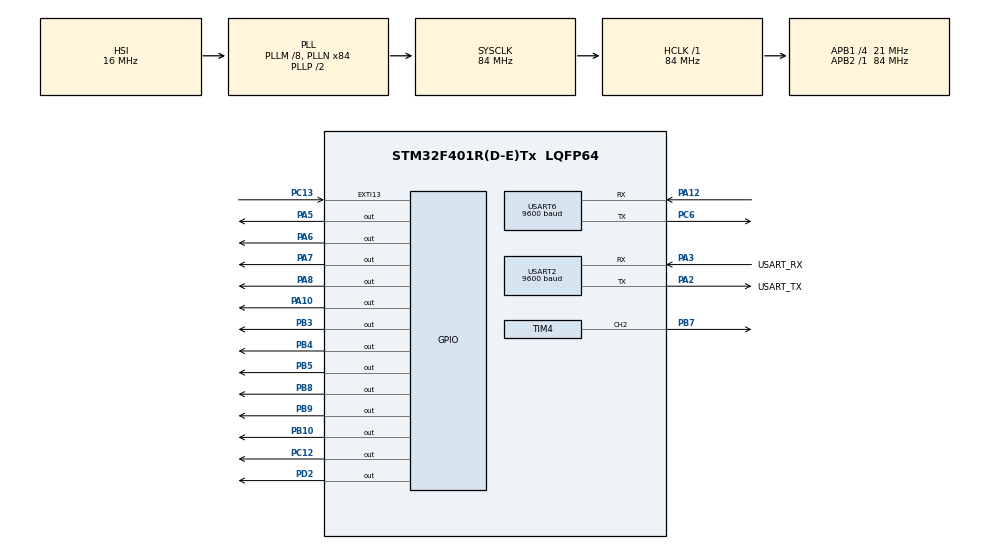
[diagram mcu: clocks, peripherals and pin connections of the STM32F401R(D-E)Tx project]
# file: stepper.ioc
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Mcu.Family=STM32F4
Mcu.Name=STM32F401R(D-E)Tx
Mcu.Package=LQFP64
NVIC.EXTI15_10_IRQn=true\:0\:0\:false\:false\:true\:true\:true\:true
NVIC.PriorityGroup=NVIC_PRIORITYGROUP_0
NVIC.TIM3_IRQn=true\:0\:0\:false\:false\:true\:true\:true\:true
NVIC.USART2_IRQn=true\:0\:0\:false\:false\:true\:true\:true\:true
NVIC.USART6_IRQn=true\:0\:0\:false\:false\:true\:true\:true\:true
PA10.Signal=GPIO_Output
PA12.Mode=Asynchronous
PA12.Signal=USART6_RX
PA13.GPIO_Label=TMS
PA13.Signal=SYS_JTMS-SWDIO
PA14.GPIO_Label=TCK
PA14.Signal=SYS_JTCK-SWCLK
PA2.GPIO_Label=USART_TX
PA2.GPIO_Mode=GPIO_MODE_AF_PP
PA2.GPIO_PuPd=GPIO_NOPULL
PA2.GPIO_Speed=GPIO_SPEED_FREQ_LOW
PA2.Mode=Asynchronous
PA2.Signal=USART2_TX
PA3.GPIO_Label=USART_RX
PA3.GPIO_Mode=GPIO_MODE_AF_PP
PA3.GPIO_PuPd=GPIO_NOPULL
PA3.GPIO_Speed=GPIO_SPEED_FREQ_LOW
PA3.Mode=Asynchronous
PA3.Signal=USART2_RX
PA5.GPIO_PuPd=GPIO_NOPULL
PA5.GPIO_Speed=GPIO_SPEED_FREQ_LOW
PA5.Signal=GPIO_Output
PA6.Signal=GPIO_Output
PA7.Signal=GPIO_Output
PA8.Signal=GPIO_Output
PB10.Signal=GPIO_Output
PB3.Signal=GPIO_Output
PB4.Signal=GPIO_Output
PB5.Signal=GPIO_Output
PB7.Signal=S_TIM4_CH2
PB8.Signal=GPIO_Output
PB9.Signal=GPIO_Output
PC12.Signal=GPIO_Output
PC13-ANTI_TAMP.GPIO_ModeDefaultEXTI=GPIO_MODE_IT_RISING
PC13-ANTI_TAMP.Signal=GPXTI13
PC14-OSC32_IN.Signal=RCC_OSC32_IN
PC15-OSC32_OUT.Signal=RCC_OSC32_OUT
PC6.Mode=Asynchronous
PC6.Signal=USART6_TX
PD2.Signal=GPIO_Output
PH0\ -\ OSC_IN.Signal=RCC_OSC_IN
PH1\ -\ OSC_OUT.Signal=RCC_OSC_OUT
ProjectManager.HeapSize=0x200
ProjectManager.StackSize=0x400
ProjectManager.TargetToolchain=STM32CubeIDE
RCC.48MHZClocksFreq_Value=24000000
RCC.AHBFreq_Value=84000000
RCC.APB1CLKDivider=RCC_HCLK_DIV4
RCC.APB1Freq_Value=21000000
RCC.APB1TimFreq_Value=42000000
RCC.APB2Freq_Value=84000000
RCC.APB2TimFreq_Value=84000000
RCC.CortexFreq_Value=84000000
RCC.HCLKFreq_Value=84000000
RCC.HSE_VALUE=8000000
RCC.HSI_VALUE=16000000
RCC.LSE_VALUE=32768
RCC.PLLM=8
RCC.PLLN=84
RCC.PLLQ=7
RCC.SYSCLKFreq_VALUE=84000000
RCC.SYSCLKSource=RCC_SYSCLKSOURCE_PLLCLK
RCC.VCOOutputFreq_Value=168000000
SH.S_TIM4_CH2.0=TIM4_CH2,PWM Generation2 CH2
TIM3.Period=1999
TIM3.Prescaler=39
TIM4.Channel-PWM\ Generation2\ CH2=TIM_CHANNEL_2
TIM4.Period=1999
TIM4.Prescaler=419
USART2.BaudRate=9600
USART2.VirtualMode=VM_ASYNC
USART6.BaudRate=9600
USART6.VirtualMode=VM_ASYNC
VP_TIM3_VS_ClockSourceINT.Mode=Internal
VP_TIM4_VS_ClockSourceINT.Mode=Internal
board=NUCLEO-F401RE

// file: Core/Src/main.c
/* USER CODE BEGIN Header */
/**
  ******************************************************************************
  * @file           : main.c
  * @brief          : Main program body
  ******************************************************************************
  * @attention
  *
  * Copyright (c) 2024 STMicroelectronics.
  * All rights reserved.
  *
  * This software is licensed under terms that can be found in the LICENSE file
  * in the root directory of this software component.
  * If no LICENSE file comes with this software, it is provided AS-IS.
  *
  ******************************************************************************
  */
/* USER CODE END Header */
#include "main.h"

/* USER CODE BEGIN Includes */
#include "stdbool.h"
#include "stdio.h"
/* USER CODE END Includes */

/* USER CODE BEGIN PTD */
typedef void (*action_func)(void);
/* USER CODE END PTD */

/* USER CODE BEGIN PD */
#define TIM4_ADDR 0x40000800
#define TIM3_ADDR 0x40000400
#define TIM_CCR2_OFFSET 0x38
#define CCR_MASK 0xFFFF

/* USER CODE END PD */

/* USER CODE BEGIN PM */
#define MIN_PAN 60
#define IDLE_PAN 155
#define MAX_PAN 240
#define STEP_PAN 5
/* USER CODE END PM */

TIM_HandleTypeDef htim3;
TIM_HandleTypeDef htim4;

UART_HandleTypeDef huart2;
UART_HandleTypeDef huart6;

/* USER CODE BEGIN PV */
static uint8_t flag = 0;
volatile bool shouldSwitch = false;
volatile uint32_t*  tim4_ccr2 = (uint32_t*)(TIM4_ADDR + TIM_CCR2_OFFSET);
action_func currentAct;

// transmit and receive buffer for Pixy2 cam
uint8_t tx_buffer[32] = {
		0xae,
		0xc1,
		0x0e,
		0x00
};

uint8_t rx_buffer[32];

// receive buffer for PS2 control
uint8_t answer[2] = 0;

// status flag for stepper driving
static uint8_t stepState = 0;

static uint8_t tiltState = 0;

static uint8_t panState = 0;

static uint8_t shootState = 0;
/* USER CODE END PV */

void SystemClock_Config(void);
static void MX_GPIO_Init(void);
static void MX_TIM4_Init(void);
static void MX_USART2_UART_Init(void);
static void MX_USART6_UART_Init(void);
static void MX_TIM3_Init(void);

/* USER CODE BEGIN 0 */

GPIO_TypeDef* H_Bridge_A1_GPIO = GPIOC; //PC12
uint16_t H_Bridge_A1_PIN = GPIO_PIN_12;

GPIO_TypeDef* H_Bridge_A2_GPIO = GPIOD; //PD2
uint16_t H_Bridge_A2_PIN = GPIO_PIN_2;

GPIO_TypeDef* A4988_POWER_GPIO = GPIOB; //PB8 D15
uint16_t A4988_POWER_PIN = GPIO_PIN_8;

GPIO_TypeDef* ENABLE_GPIO = GPIOB;// PB9 D14
uint16_t ENABLE_PIN = GPIO_PIN_9;

GPIO_TypeDef* DIR_FRONT_LEFT_GPIO = GPIOA; // PA5 D13
uint16_t DIR_FRONT_LEFT_PIN = GPIO_PIN_5;
GPIO_TypeDef* STEP_FRONT_LEFT_GPIO = GPIOA; // PA6 D12
uint16_t STEP_FRONT_LEFT_PIN = GPIO_PIN_6;

GPIO_TypeDef* DIR_BACK_LEFT_GPIO = GPIOA; // PA7 D11
uint16_t DIR_BACK_LEFT_PIN = GPIO_PIN_7;
GPIO_TypeDef* STEP_BACK_LEFT_GPIO = GPIOA; // PA8 D7
uint16_t STEP_BACK_LEFT_PIN = GPIO_PIN_8;

GPIO_TypeDef* DIR_FRONT_RIGHT_GPIO = GPIOB; // PB10 D6
uint16_t DIR_FRONT_RIGHT_PIN = GPIO_PIN_10;
GPIO_TypeDef* STEP_FRONT_RIGHT_GPIO = GPIOB; // PB4 D5
uint16_t STEP_FRONT_RIGHT_PIN = GPIO_PIN_4;

GPIO_TypeDef* DIR_BACK_RIGHT_GPIO = GPIOB;// PB5 D4
uint16_t DIR_BACK_RIGHT_PIN = GPIO_PIN_5;
GPIO_TypeDef* STEP_BACK_RIGHT_GPIO = GPIOB; // PB3 D3
uint16_t STEP_BACK_RIGHT_PIN = GPIO_PIN_3;

// Flywheel control sets
void run_wheelA(){
	HAL_GPIO_WritePin(H_Bridge_A1_GPIO, H_Bridge_A1_PIN, 1);
	HAL_GPIO_WritePin(H_Bridge_A2_GPIO, H_Bridge_A2_PIN, 0);
}

// Stepper control sets
void set_forward_dir()
{
	HAL_GPIO_WritePin(DIR_FRONT_LEFT_GPIO, DIR_FRONT_LEFT_PIN, 1);
	HAL_GPIO_WritePin(DIR_BACK_LEFT_GPIO, DIR_BACK_LEFT_PIN, 1);
	HAL_GPIO_WritePin(DIR_FRONT_RIGHT_GPIO, DIR_FRONT_RIGHT_PIN, 1);
	HAL_GPIO_WritePin(DIR_BACK_RIGHT_GPIO, DIR_BACK_RIGHT_PIN, 1);
}
void set_backward_dir()
{
	HAL_GPIO_WritePin(DIR_FRONT_LEFT_GPIO, DIR_FRONT_LEFT_PIN, 0);
	HAL_GPIO_WritePin(DIR_BACK_LEFT_GPIO, DIR_BACK_LEFT_PIN, 0);
	HAL_GPIO_WritePin(DIR_FRONT_RIGHT_GPIO, DIR_FRONT_RIGHT_PIN, 0);
	HAL_GPIO_WritePin(DIR_BACK_RIGHT_GPIO, DIR_BACK_RIGHT_PIN, 0);
}
void set_left_dir()
{
	HAL_GPIO_WritePin(DIR_FRONT_LEFT_GPIO, DIR_FRONT_LEFT_PIN, 0);
	HAL_GPIO_WritePin(DIR_BACK_LEFT_GPIO, DIR_BACK_LEFT_PIN, 1);
	HAL_GPIO_WritePin(DIR_FRONT_RIGHT_GPIO, DIR_FRONT_RIGHT_PIN, 1);
	HAL_GPIO_WritePin(DIR_BACK_RIGHT_GPIO, DIR_BACK_RIGHT_PIN, 0);
}
void set_right_dir()
{
	HAL_GPIO_WritePin(DIR_FRONT_LEFT_GPIO, DIR_FRONT_LEFT_PIN, 1);
	HAL_GPIO_WritePin(DIR_BACK_LEFT_GPIO, DIR_BACK_LEFT_PIN, 0);
	HAL_GPIO_WritePin(DIR_FRONT_RIGHT_GPIO, DIR_FRONT_RIGHT_PIN, 0);
	HAL_GPIO_WritePin(DIR_BACK_RIGHT_GPIO, DIR_BACK_RIGHT_PIN, 1);
}
void set_ccw_dir()
{
	HAL_GPIO_WritePin(DIR_FRONT_LEFT_GPIO, DIR_FRONT_LEFT_PIN, 0);
		HAL_GPIO_WritePin(DIR_BACK_LEFT_GPIO, DIR_BACK_LEFT_PIN, 0);
		HAL_GPIO_WritePin(DIR_FRONT_RIGHT_GPIO, DIR_FRONT_RIGHT_PIN, 1);
		HAL_GPIO_WritePin(DIR_BACK_RIGHT_GPIO, DIR_BACK_RIGHT_PIN, 1);
}
void set_cw_dir()
{
	HAL_GPIO_WritePin(DIR_FRONT_LEFT_GPIO, DIR_FRONT_LEFT_PIN, 1);
		HAL_GPIO_WritePin(DIR_BACK_LEFT_GPIO, DIR_BACK_LEFT_PIN, 1);
		HAL_GPIO_WritePin(DIR_FRONT_RIGHT_GPIO, DIR_FRONT_RIGHT_PIN, 0);
		HAL_GPIO_WritePin(DIR_BACK_RIGHT_GPIO, DIR_BACK_RIGHT_PIN, 0);
}
void move(int steps, void(*func)() ) {
	HAL_GPIO_WritePin(ENABLE_GPIO, ENABLE_PIN, 0);
	func();
	for(int i = 0;i < steps;i++)
	{
        HAL_GPIO_WritePin(STEP_FRONT_LEFT_GPIO, STEP_FRONT_LEFT_PIN, 1);
        HAL_GPIO_WritePin(STEP_BACK_LEFT_GPIO, STEP_BACK_LEFT_PIN, 1);
        HAL_GPIO_WritePin(STEP_FRONT_RIGHT_GPIO, STEP_FRONT_RIGHT_PIN, 1);
        HAL_GPIO_WritePin(STEP_BACK_RIGHT_GPIO, STEP_BACK_RIGHT_PIN, 1);

        HAL_Delay(1); // Adjust delay for desired speed
        HAL_GPIO_WritePin(STEP_FRONT_LEFT_GPIO, STEP_FRONT_LEFT_PIN, 0);
		HAL_GPIO_WritePin(STEP_BACK_LEFT_GPIO, STEP_BACK_LEFT_PIN, 0);
		HAL_GPIO_WritePin(STEP_FRONT_RIGHT_GPIO, STEP_FRONT_RIGHT_PIN, 0);
		HAL_GPIO_WritePin(STEP_BACK_RIGHT_GPIO, STEP_BACK_RIGHT_PIN, 0);
        HAL_Delay(1); // Adjust delay for desired speed
	}
	HAL_GPIO_WritePin(ENABLE_GPIO, ENABLE_PIN, 1);
}
void move_forward(steps)
{
	move(steps, set_forward_dir);
}
void move_backward(steps)
{
	move(steps, set_backward_dir);
}
void move_left(steps)
{
	move(steps, set_left_dir);
}
void move_right(steps)
{
	move(steps, set_right_dir);
}
void move_ccw(steps)
{
	move(steps, set_ccw_dir);
}
void move_cw(steps)
{
	move(steps, set_cw_dir);
}

void move_car(void){

	while(!shouldSwitch){

	}
	printf("Finish moving\n");
	shouldSwitch = false;
}

void move_pan(void){

//	*tim4_ccr2 = MIN_PAN;
//	while(!shouldSwitch){
//		if(*tim4_ccr2 <= MAX_PAN){
//			HAL_Delay(1);
//			*tim4_ccr2 = *tim4_ccr2 +  STEP_PAN;
//		}
//
//
//	}

	printf("Tilting finished\n");
	shouldSwitch = false;
}

void HAL_TIM_PeriodElapsedCallback(TIM_HandleTypeDef *htim) {
    if (htim->Instance == TIM3) {
        // move the wheels

     	HAL_GPIO_WritePin(ENABLE_GPIO, ENABLE_PIN, 0);
        HAL_GPIO_WritePin(STEP_FRONT_LEFT_GPIO, STEP_FRONT_LEFT_PIN, stepState ? GPIO_PIN_SET : GPIO_PIN_RESET);
        HAL_GPIO_WritePin(STEP_BACK_LEFT_GPIO, STEP_BACK_LEFT_PIN, stepState ? GPIO_PIN_SET : GPIO_PIN_RESET);
        HAL_GPIO_WritePin(STEP_FRONT_RIGHT_GPIO, STEP_FRONT_RIGHT_PIN, stepState ? GPIO_PIN_SET : GPIO_PIN_RESET);
        HAL_GPIO_WritePin(STEP_BACK_RIGHT_GPIO, STEP_BACK_RIGHT_PIN, stepState ? GPIO_PIN_SET : GPIO_PIN_RESET);
        stepState = !stepState;
    }
}

// pan&tilt coordinate with wheels callback function
void HAL_GPIO_EXTI_Callback(uint16_t pin){
	flag = !flag;
	shouldSwitch = true;

	if(!flag)
		currentAct = move_car;
	else
		currentAct = move_pan;

}

/* USER CODE END 0 */

int main(void)
{
  /* USER CODE BEGIN 1 */
	currentAct = move_car;

  /* USER CODE END 1 */

  /* MCU Configuration--------------------------------------------------------*/

  /* Reset of all peripherals, Initializes the Flash interface and the Systick. */
  HAL_Init();

  /* Configure the system clock */
  SystemClock_Config();

  /* Initialize all configured peripherals */
  MX_GPIO_Init();
  MX_TIM4_Init();
  MX_USART2_UART_Init();
  MX_USART6_UART_Init();
  MX_TIM3_Init();
  /* USER CODE BEGIN 2 */
  //  HAL_NVIC_SetPriority(USART2_IRQn, 0, 0);
  //  HAL_NVIC_EnableIRQ(USART2_IRQn);
  HAL_UART_Receive_IT(&huart6, &answer, 1);
  // start PWM function for timer4
  HAL_TIM_PWM_Start(&htim4, TIM_CHANNEL_2);

  /* USER CODE END 2 */

  /* Infinite loop */
  /* USER CODE BEGIN WHILE */

  while(1){

//	  if(flagg == 1){
//		  *tim4_ccr2 = *tim4_ccr2 - 5;
//	  }
//	  else if(flagg == 0){
//		  *tim4_ccr2 = *tim4_ccr2 + 5;
//	  }
//
//	  if( *tim4_ccr2>=240){
//		  flagg=1;
//	  }
//	  else if( *tim4_ccr2 <= 60){
//		  flagg = 0;
//	  }
//	  HAL_Delay(10);

//	  if(stepState==1)
//		  move_forward(1);
//	  else if (stepState==2)
//		  move_backward(1);
//	  else if (stepState==3)
//		  move_ccw(1);
//	  else if (stepState==4)
//		  move_cw(1);

	  if(tiltState == 1){
//			if(*tim4_ccr2 <= MAX_PAN){
//				HAL_Delay(1);
//				*tim4_ccr2 = *tim4_ccr2 + STEP_PAN;
//			}
		  *tim4_ccr2 = MIN_PAN;
	  }
	  else if (tiltState==2){
//			if(*tim4_ccr2 >= MIN_PAN){
//				HAL_Delay(1);
//				*tim4_ccr2 = *tim4_ccr2 - STEP_PAN;
//			}
		  *tim4_ccr2 = MAX_PAN;
	  }
	  else{
		  *tim4_ccr2 = IDLE_PAN;
	  }

	  if(shootState){
		  run_wheelA();
	  }

  }

//  while (1)
//  {
    /* USER CODE END WHILE */

}

void SystemClock_Config(void)
{
  RCC_OscInitTypeDef RCC_OscInitStruct = {0};
  RCC_ClkInitTypeDef RCC_ClkInitStruct = {0};

  /** Configure the main internal regulator output voltage
  */
  __HAL_RCC_PWR_CLK_ENABLE();
  __HAL_PWR_VOLTAGESCALING_CONFIG(PWR_REGULATOR_VOLTAGE_SCALE2);

  /** Initializes the RCC Oscillators according to the specified parameters
  * in the RCC_OscInitTypeDef structure.
  */
  RCC_OscInitStruct.OscillatorType = RCC_OSCILLATORTYPE_HSI;
  RCC_OscInitStruct.HSIState = RCC_HSI_ON;
  RCC_OscInitStruct.HSICalibrationValue = RCC_HSICALIBRATION_DEFAULT;
  RCC_OscInitStruct.PLL.PLLState = RCC_PLL_ON;
  RCC_OscInitStruct.PLL.PLLSource = RCC_PLLSOURCE_HSI;
  RCC_OscInitStruct.PLL.PLLM = 8;
  RCC_OscInitStruct.PLL.PLLN = 84;
  RCC_OscInitStruct.PLL.PLLP = RCC_PLLP_DIV2;
  RCC_OscInitStruct.PLL.PLLQ = 7;
  if (HAL_RCC_OscConfig(&RCC_OscInitStruct) != HAL_OK)
  {
    Error_Handler();
  }

  /** Initializes the CPU, AHB and APB buses clocks
  */
  RCC_ClkInitStruct.ClockType = RCC_CLOCKTYPE_HCLK|RCC_CLOCKTYPE_SYSCLK
                              |RCC_CLOCKTYPE_PCLK1|RCC_CLOCKTYPE_PCLK2;
  RCC_ClkInitStruct.SYSCLKSource = RCC_SYSCLKSOURCE_PLLCLK;
  RCC_ClkInitStruct.AHBCLKDivider = RCC_SYSCLK_DIV1;
  RCC_ClkInitStruct.APB1CLKDivider = RCC_HCLK_DIV4;
  RCC_ClkInitStruct.APB2CLKDivider = RCC_HCLK_DIV1;

  if (HAL_RCC_ClockConfig(&RCC_ClkInitStruct, FLASH_LATENCY_2) != HAL_OK)
  {
    Error_Handler();
  }
}

static void MX_TIM3_Init(void)
{

  TIM_ClockConfigTypeDef sClockSourceConfig = {0};
  TIM_MasterConfigTypeDef sMasterConfig = {0};

  htim3.Instance = TIM3;
  htim3.Init.Prescaler = 39;
  htim3.Init.CounterMode = TIM_COUNTERMODE_UP;
  htim3.Init.Period = 1999;
  htim3.Init.ClockDivision = TIM_CLOCKDIVISION_DIV1;
  htim3.Init.AutoReloadPreload = TIM_AUTORELOAD_PRELOAD_DISABLE;
  if (HAL_TIM_Base_Init(&htim3) != HAL_OK)
  {
    Error_Handler();
  }
  sClockSourceConfig.ClockSource = TIM_CLOCKSOURCE_INTERNAL;
  if (HAL_TIM_ConfigClockSource(&htim3, &sClockSourceConfig) != HAL_OK)
  {
    Error_Handler();
  }
  sMasterConfig.MasterOutputTrigger = TIM_TRGO_RESET;
  sMasterConfig.MasterSlaveMode = TIM_MASTERSLAVEMODE_DISABLE;
  if (HAL_TIMEx_MasterConfigSynchronization(&htim3, &sMasterConfig) != HAL_OK)
  {
    Error_Handler();
  }

}

static void MX_TIM4_Init(void)
{

  TIM_ClockConfigTypeDef sClockSourceConfig = {0};
  TIM_MasterConfigTypeDef sMasterConfig = {0};
  TIM_OC_InitTypeDef sConfigOC = {0};

  htim4.Instance = TIM4;
  htim4.Init.Prescaler = 419;
  htim4.Init.CounterMode = TIM_COUNTERMODE_UP;
  htim4.Init.Period = 1999;
  htim4.Init.ClockDivision = TIM_CLOCKDIVISION_DIV1;
  htim4.Init.AutoReloadPreload = TIM_AUTORELOAD_PRELOAD_DISABLE;
  if (HAL_TIM_Base_Init(&htim4) != HAL_OK)
  {
    Error_Handler();
  }
  sClockSourceConfig.ClockSource = TIM_CLOCKSOURCE_INTERNAL;
  if (HAL_TIM_ConfigClockSource(&htim4, &sClockSourceConfig) != HAL_OK)
  {
    Error_Handler();
  }
  if (HAL_TIM_PWM_Init(&htim4) != HAL_OK)
  {
    Error_Handler();
  }
  sMasterConfig.MasterOutputTrigger = TIM_TRGO_RESET;
  sMasterConfig.MasterSlaveMode = TIM_MASTERSLAVEMODE_DISABLE;
  if (HAL_TIMEx_MasterConfigSynchronization(&htim4, &sMasterConfig) != HAL_OK)
  {
    Error_Handler();
  }
  sConfigOC.OCMode = TIM_OCMODE_PWM1;
  sConfigOC.Pulse = 0;
  sConfigOC.OCPolarity = TIM_OCPOLARITY_HIGH;
  sConfigOC.OCFastMode = TIM_OCFAST_DISABLE;
  if (HAL_TIM_PWM_ConfigChannel(&htim4, &sConfigOC, TIM_CHANNEL_2) != HAL_OK)
  {
    Error_Handler();
  }
  HAL_TIM_MspPostInit(&htim4);

}

static void MX_USART2_UART_Init(void)
{

  huart2.Instance = USART2;
  huart2.Init.BaudRate = 9600;
  huart2.Init.WordLength = UART_WORDLENGTH_8B;
  huart2.Init.StopBits = UART_STOPBITS_1;
  huart2.Init.Parity = UART_PARITY_NONE;
  huart2.Init.Mode = UART_MODE_TX_RX;
  huart2.Init.HwFlowCtl = UART_HWCONTROL_NONE;
  huart2.Init.OverSampling = UART_OVERSAMPLING_16;
  if (HAL_UART_Init(&huart2) != HAL_OK)
  {
    Error_Handler();
  }

}

static void MX_USART6_UART_Init(void)
{

  huart6.Instance = USART6;
  huart6.Init.BaudRate = 9600;
  huart6.Init.WordLength = UART_WORDLENGTH_8B;
  huart6.Init.StopBits = UART_STOPBITS_1;
  huart6.Init.Parity = UART_PARITY_NONE;
  huart6.Init.Mode = UART_MODE_TX_RX;
  huart6.Init.HwFlowCtl = UART_HWCONTROL_NONE;
  huart6.Init.OverSampling = UART_OVERSAMPLING_16;
  if (HAL_UART_Init(&huart6) != HAL_OK)
  {
    Error_Handler();
  }

}

static void MX_GPIO_Init(void)
{
  GPIO_InitTypeDef GPIO_InitStruct = {0};

  /* GPIO Ports Clock Enable */
  __HAL_RCC_GPIOC_CLK_ENABLE();
  __HAL_RCC_GPIOH_CLK_ENABLE();
  __HAL_RCC_GPIOA_CLK_ENABLE();
  __HAL_RCC_GPIOB_CLK_ENABLE();
  __HAL_RCC_GPIOD_CLK_ENABLE();

  /*Configure GPIO pin Output Level */
  HAL_GPIO_WritePin(GPIOA, GPIO_PIN_5|GPIO_PIN_6|GPIO_PIN_7|GPIO_PIN_8
                          |GPIO_PIN_10, GPIO_PIN_RESET);

  /*Configure GPIO pin Output Level */
  HAL_GPIO_WritePin(GPIOB, GPIO_PIN_10|GPIO_PIN_3|GPIO_PIN_4|GPIO_PIN_5
                          |GPIO_PIN_8|GPIO_PIN_9, GPIO_PIN_RESET);

  /*Configure GPIO pin Output Level */
  HAL_GPIO_WritePin(GPIOC, GPIO_PIN_12, GPIO_PIN_RESET);

  /*Configure GPIO pin Output Level */
  HAL_GPIO_WritePin(GPIOD, GPIO_PIN_2, GPIO_PIN_RESET);

  /*Configure GPIO pin : PC13 */
  GPIO_InitStruct.Pin = GPIO_PIN_13;
  GPIO_InitStruct.Mode = GPIO_MODE_IT_RISING;
  GPIO_InitStruct.Pull = GPIO_NOPULL;
  HAL_GPIO_Init(GPIOC, &GPIO_InitStruct);

  /*Configure GPIO pins : PA5 PA6 PA7 PA8
                           PA10 */
  GPIO_InitStruct.Pin = GPIO_PIN_5|GPIO_PIN_6|GPIO_PIN_7|GPIO_PIN_8
                          |GPIO_PIN_10;
  GPIO_InitStruct.Mode = GPIO_MODE_OUTPUT_PP;
  GPIO_InitStruct.Pull = GPIO_NOPULL;
  GPIO_InitStruct.Speed = GPIO_SPEED_FREQ_LOW;
  HAL_GPIO_Init(GPIOA, &GPIO_InitStruct);

  /*Configure GPIO pins : PB10 PB3 PB4 PB5
                           PB8 PB9 */
  GPIO_InitStruct.Pin = GPIO_PIN_10|GPIO_PIN_3|GPIO_PIN_4|GPIO_PIN_5
                          |GPIO_PIN_8|GPIO_PIN_9;
  GPIO_InitStruct.Mode = GPIO_MODE_OUTPUT_PP;
  GPIO_InitStruct.Pull = GPIO_NOPULL;
  GPIO_InitStruct.Speed = GPIO_SPEED_FREQ_LOW;
  HAL_GPIO_Init(GPIOB, &GPIO_InitStruct);

  /*Configure GPIO pin : PC12 */
  GPIO_InitStruct.Pin = GPIO_PIN_12;
  GPIO_InitStruct.Mode = GPIO_MODE_OUTPUT_PP;
  GPIO_InitStruct.Pull = GPIO_NOPULL;
  GPIO_InitStruct.Speed = GPIO_SPEED_FREQ_LOW;
  HAL_GPIO_Init(GPIOC, &GPIO_InitStruct);

  /*Configure GPIO pin : PD2 */
  GPIO_InitStruct.Pin = GPIO_PIN_2;
  GPIO_InitStruct.Mode = GPIO_MODE_OUTPUT_PP;
  GPIO_InitStruct.Pull = GPIO_NOPULL;
  GPIO_InitStruct.Speed = GPIO_SPEED_FREQ_LOW;
  HAL_GPIO_Init(GPIOD, &GPIO_InitStruct);

  /* EXTI interrupt init*/
  HAL_NVIC_SetPriority(EXTI15_10_IRQn, 0, 0);
  HAL_NVIC_EnableIRQ(EXTI15_10_IRQn);

}

/* USER CODE BEGIN 4 */
bool check_recv_bit(uint8_t bit_num){
	bool is_one = (((answer&(0b1<< bit_num)) >> bit_num)==1);
	return is_one;
}

bool isTIM3_EXTI_Enabled(void) {
   // bool nvicEnabled = HAL_NVIC_GetEnableIRQ(TIM3_IRQn) != 0;
    bool timerInterruptEnabled = (TIM3->DIER & TIM_DIER_UIE) != 0U;
    return timerInterruptEnabled;
}

 void HAL_UART_RxCpltCallback(UART_HandleTypeDef* hadc) {
	 // read the controller message and modify status bits

	 	 // stepper ctrl
         if (check_recv_bit(0)) {
        	 // move left

        	 if(!isTIM3_EXTI_Enabled()){
        		 HAL_TIM_Base_Start_IT(&htim3);
                 set_ccw_dir();
        	 }

             stepState = 3;
         }
         else if(check_recv_bit(1)) {
        	 // move right

        	 if(!isTIM3_EXTI_Enabled()){
        		 HAL_TIM_Base_Start_IT(&htim3);
                 set_cw_dir();
        	 }

        	 stepState = 4;
         }
         else if(check_recv_bit(2)) {
        	 // move forward

        	 if(!isTIM3_EXTI_Enabled()){
        		 HAL_TIM_Base_Start_IT(&htim3);
                 set_forward_dir();
        	 }

        	 stepState = 1;
         }
         else if(check_recv_bit(3)) {
        	 // move backward

        	 if(!isTIM3_EXTI_Enabled()){
        		 HAL_TIM_Base_Start_IT(&htim3);
                 set_backward_dir();
        	 }

        	 stepState = 2;
         }
         else {
        	 if(isTIM3_EXTI_Enabled()){
            	 HAL_TIM_Base_Stop_IT(&htim3);
            	 __HAL_TIM_CLEAR_FLAG(&htim3, TIM_FLAG_UPDATE);
        	 }
        	 HAL_GPIO_WritePin(ENABLE_GPIO, ENABLE_PIN, 1);
        	 stepState = 0;
         }

         //pan & tilt ctrl
         if(check_recv_bit(4)){
        	 tiltState = 1;
         }
         else if(check_recv_bit(5)){
        	 tiltState = 2;
         }
         else if(check_recv_bit(6)){
        	 shootState = 1;
         }
         else{
        	 tiltState = 0;
         }

	shouldSwitch = true;

//    if (answer == 0b11000000) {
//        // �?�件满足，�?�动TIM3中断，开始驱动步进电机
//        HAL_TIM_Base_Start_IT(&htim3);
//    } else {
//        // �?�件�?满足，�?�止TIM3中断，�?�止步进电机
//        HAL_TIM_Base_Stop_IT(&htim3);
//    }

 }

/* USER CODE END 4 */

void Error_Handler(void)
{
  __disable_irq();
  while (1)
  {
  }
}
